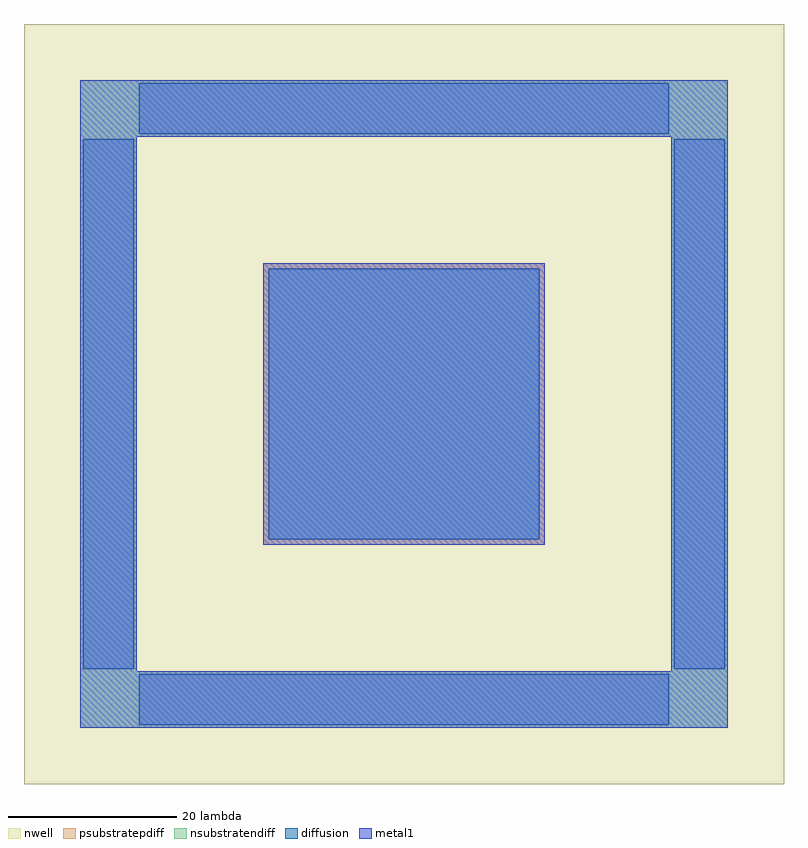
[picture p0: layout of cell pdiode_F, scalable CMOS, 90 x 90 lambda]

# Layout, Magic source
magic
tech scmos
magscale 1 3
<< nwell >>
rect 0 0 270 270
<< diffusion >>
rect 41 231 229 249
rect 21 41 39 229
rect 87 87 183 183
rect 231 41 249 229
rect 41 21 229 39
<< psubstratepdiff >>
rect 85 183 185 185
rect 85 87 87 183
rect 183 87 185 183
rect 85 85 185 87
<< nsubstratendiff >>
rect 20 249 250 250
rect 20 231 41 249
rect 229 231 250 249
rect 20 230 250 231
rect 20 229 40 230
rect 20 41 21 229
rect 39 41 40 229
rect 230 229 250 230
rect 20 40 40 41
rect 230 41 231 229
rect 249 41 250 229
rect 230 40 250 41
rect 20 39 250 40
rect 20 21 41 39
rect 229 21 250 39
rect 20 20 250 21
<< metal1 >>
rect 20 230 250 250
rect 20 40 40 230
rect 85 85 185 185
rect 230 40 250 230
rect 20 20 250 40
<< end >>
